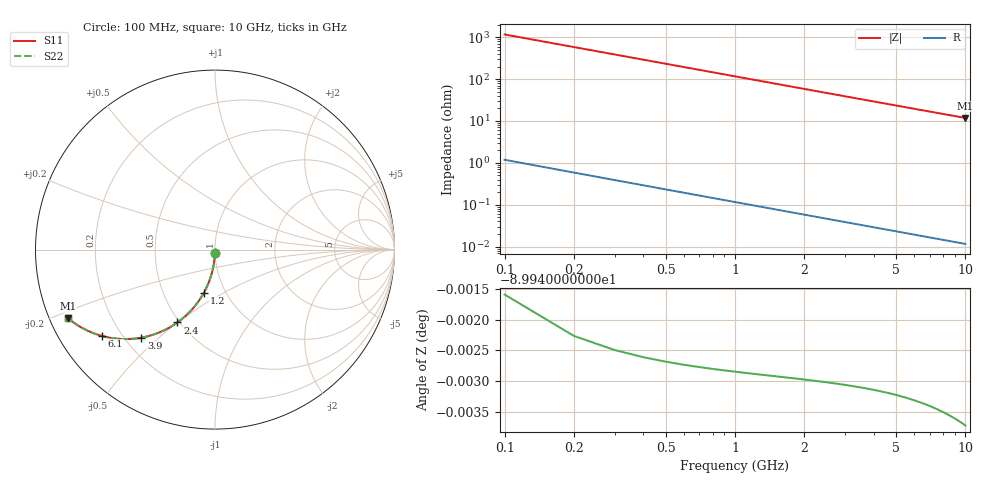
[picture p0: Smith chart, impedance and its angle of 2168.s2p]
# Hz S RI R 50.00
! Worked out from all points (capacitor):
!   100 points, 100 MHz to 10 GHz, reference 50 ohm
!   read as one part in shunt: C = 1.37 pF near 100 MHz
!   lowest |Z| = 11.8 ohm at 10 GHz (marker M1)
!   S11 on the Smith chart (normalised r, x): 100 MHz: 1.00, -0.04; 1.2 GHz: 0.79, -0.41; 2.4 GHz: 0.49, -0.50; 3.9 GHz: 0.27, -0.44; 6.1 GHz: 0.13, -0.33; 10 GHz: 0.05, -0.22
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1e8  -0.000475 -0.0214  0.9995 -0.0215  0.9995 -0.0215  -0.000475 -0.0214
2e8  -0.00188 -0.0428  0.9981 -0.0429  0.9981 -0.0429  -0.00188 -0.0428
3e8  -0.00419 -0.0641  0.9958 -0.0642  0.9958 -0.0642  -0.00419 -0.0641
4e8  -0.0074 -0.0852  0.9926 -0.0853  0.9926 -0.0853  -0.0074 -0.0852
5e8  -0.0115 -0.106  0.9885 -0.1062  0.9885 -0.1062  -0.0115 -0.106
6e8  -0.0164 -0.1265  0.9835 -0.1268  0.9835 -0.1268  -0.0164 -0.1265
7e8  -0.0222 -0.1468  0.9778 -0.1471  0.9778 -0.1471  -0.0222 -0.1468
9e8  -0.0361 -0.186  0.9638 -0.1863  0.9638 -0.1863  -0.0361 -0.186
1.2e9  -0.0624 -0.2411  0.9376 -0.2416  0.9376 -0.2416  -0.0624 -0.2411
1.5e9  -0.094 -0.2911  0.906 -0.2917  0.906 -0.2917  -0.094 -0.2911
1.8e9  -0.1299 -0.3353  0.8701 -0.3361  0.8701 -0.3361  -0.1299 -0.3353
2.1e9  -0.1687 -0.3735  0.8313 -0.3745  0.8313 -0.3745  -0.1687 -0.3735
2.4e9  -0.2093 -0.4058  0.7907 -0.4069  0.7907 -0.4069  -0.2093 -0.4058
2.9e9  -0.2784 -0.4471  0.7216 -0.4484  0.7216 -0.4484  -0.2784 -0.4471
3.4e9  -0.3462 -0.4745  0.6538 -0.476  0.6538 -0.476  -0.3462 -0.4745
3.9e9  -0.4102 -0.4905  0.5898 -0.4922  0.5898 -0.4922  -0.4102 -0.4905
5.1e9  -0.5423 -0.4966  0.4577 -0.4988  0.4577 -0.4988  -0.5423 -0.4966
6.1e9  -0.6283 -0.4814  0.3717 -0.4841  0.3717 -0.4841  -0.6283 -0.4814
6.7e9  -0.6706 -0.468  0.3293 -0.471  0.3293 -0.471  -0.6706 -0.468
7.5e9  -0.718 -0.4478  0.2819 -0.4511  0.2819 -0.4511  -0.718 -0.4478
8.4e9  -0.7613 -0.4239  0.2387 -0.4277  0.2387 -0.4277  -0.7613 -0.4239
1e10  -0.8184 -0.3828  0.1816 -0.3873  0.1816 -0.3873  -0.8184 -0.3828
